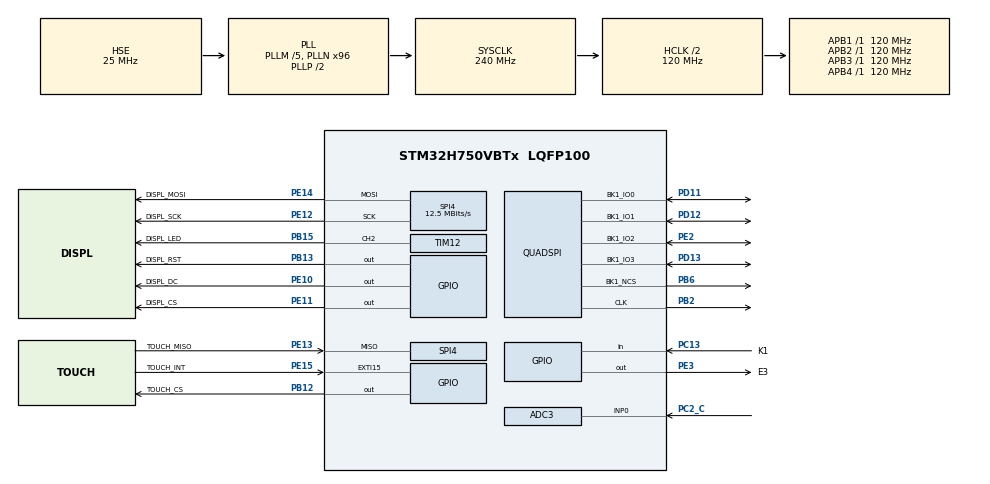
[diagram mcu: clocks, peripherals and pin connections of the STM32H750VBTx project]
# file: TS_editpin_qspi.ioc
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ADC3.Channel-0\#ChannelRegularConversion=ADC_CHANNEL_0
ADC3.Channel-1\#ChannelRegularConversion=ADC_CHANNEL_VREFINT
ADC3.Channel-2\#ChannelRegularConversion=ADC_CHANNEL_VBAT
ADC3.Channel-3\#ChannelRegularConversion=ADC_CHANNEL_TEMPSENSOR
ADC3.DiscontinuousConvMode=ENABLE
ADC3.NbrOfConversion=4
ADC3.NbrOfConversionFlag=1
ADC3.OffsetNumber-0\#ChannelRegularConversion=ADC_OFFSET_NONE
ADC3.OffsetNumber-1\#ChannelRegularConversion=ADC_OFFSET_NONE
ADC3.OffsetNumber-2\#ChannelRegularConversion=ADC_OFFSET_NONE
ADC3.OffsetNumber-3\#ChannelRegularConversion=ADC_OFFSET_NONE
ADC3.OffsetSignedSaturation-0\#ChannelRegularConversion=DISABLE
ADC3.OffsetSignedSaturation-1\#ChannelRegularConversion=DISABLE
ADC3.OffsetSignedSaturation-2\#ChannelRegularConversion=DISABLE
ADC3.OffsetSignedSaturation-3\#ChannelRegularConversion=DISABLE
ADC3.Rank-0\#ChannelRegularConversion=1
ADC3.Rank-1\#ChannelRegularConversion=2
ADC3.Rank-2\#ChannelRegularConversion=3
ADC3.Rank-3\#ChannelRegularConversion=4
ADC3.SamplingTime-0\#ChannelRegularConversion=ADC_SAMPLETIME_387CYCLES_5
ADC3.SamplingTime-1\#ChannelRegularConversion=ADC_SAMPLETIME_387CYCLES_5
ADC3.SamplingTime-2\#ChannelRegularConversion=ADC_SAMPLETIME_387CYCLES_5
ADC3.SamplingTime-3\#ChannelRegularConversion=ADC_SAMPLETIME_387CYCLES_5
CRC.OutputDataInversionMode=CRC_OUTPUTDATA_INVERSION_ENABLE
Dma.Request0=SPI4_TX
Dma.SPI4_TX.0.Direction=DMA_MEMORY_TO_PERIPH
Dma.SPI4_TX.0.EventEnable=DISABLE
Dma.SPI4_TX.0.FIFOMode=DMA_FIFOMODE_DISABLE
Dma.SPI4_TX.0.Instance=DMA1_Stream0
Dma.SPI4_TX.0.MemDataAlignment=DMA_MDATAALIGN_BYTE
Dma.SPI4_TX.0.MemInc=DMA_MINC_ENABLE
Dma.SPI4_TX.0.Mode=DMA_NORMAL
Dma.SPI4_TX.0.PeriphDataAlignment=DMA_PDATAALIGN_BYTE
Dma.SPI4_TX.0.PeriphInc=DMA_PINC_DISABLE
Dma.SPI4_TX.0.Polarity=HAL_DMAMUX_REQ_GEN_RISING
Dma.SPI4_TX.0.Priority=DMA_PRIORITY_LOW
Dma.SPI4_TX.0.RequestNumber=1
Dma.SPI4_TX.0.SignalID=NONE
Dma.SPI4_TX.0.SyncEnable=DISABLE
Dma.SPI4_TX.0.SyncPolarity=HAL_DMAMUX_SYNC_NO_EVENT
Dma.SPI4_TX.0.SyncRequestNumber=1
Dma.SPI4_TX.0.SyncSignalID=NONE
Mcu.Family=STM32H7
Mcu.Name=STM32H750VBTx
Mcu.Package=LQFP100
NVIC.DMA1_Stream0_IRQn=true\:0\:0\:false\:false\:true\:false\:true\:true
NVIC.EXTI15_10_IRQn=true\:0\:0\:false\:false\:true\:true\:true\:true
NVIC.PriorityGroup=NVIC_PRIORITYGROUP_4
NVIC.SPI4_IRQn=true\:0\:0\:false\:false\:true\:true\:true\:true
PA13\ (JTMS/SWDIO).Mode=Serial_Wire
PA13\ (JTMS/SWDIO).Signal=DEBUG_JTMS-SWDIO
PA14\ (JTCK/SWCLK).Mode=Serial_Wire
PA14\ (JTCK/SWCLK).Signal=DEBUG_JTCK-SWCLK
PB12.GPIO_Label=TOUCH_CS
PB12.GPIO_Speed=GPIO_SPEED_FREQ_HIGH
PB12.PinState=GPIO_PIN_RESET
PB12.Signal=GPIO_Output
PB13.GPIO_Label=DISPL_RST
PB13.PinState=GPIO_PIN_SET
PB13.Signal=GPIO_Output
PB15.GPIO_Label=DISPL_LED
PB15.Signal=S_TIM12_CH2
PB2.GPIO_Speed=GPIO_SPEED_FREQ_VERY_HIGH
PB2.Mode=Single Bank 1
PB2.Signal=QUADSPI_CLK
PB6.GPIO_Speed=GPIO_SPEED_FREQ_VERY_HIGH
PB6.Mode=Single Bank 1
PB6.Signal=QUADSPI_BK1_NCS
PC13.GPIO_Label=K1
PC13.GPIO_PuPd=GPIO_PULLDOWN
PC13.Signal=GPIO_Input
PC2_C.Mode=IN0-Single-Ended
PC2_C.Signal=ADC3_INP0
PD11.GPIO_Speed=GPIO_SPEED_FREQ_VERY_HIGH
PD11.Mode=Single Bank 1
PD11.Signal=QUADSPI_BK1_IO0
PD12.GPIO_Speed=GPIO_SPEED_FREQ_VERY_HIGH
PD12.Mode=Single Bank 1
PD12.Signal=QUADSPI_BK1_IO1
PD13.GPIO_Speed=GPIO_SPEED_FREQ_VERY_HIGH
PD13.Mode=Single Bank 1
PD13.Signal=QUADSPI_BK1_IO3
PE10.GPIO_Label=DISPL_DC
PE10.GPIO_Speed=GPIO_SPEED_FREQ_HIGH
PE10.PinState=GPIO_PIN_RESET
PE10.Signal=GPIO_Output
PE11.GPIO_Label=DISPL_CS
PE11.GPIO_Speed=GPIO_SPEED_FREQ_HIGH
PE11.PinState=GPIO_PIN_RESET
PE11.Signal=GPIO_Output
PE12.GPIO_Label=DISPL_SCK
PE12.GPIO_Speed=GPIO_SPEED_FREQ_VERY_HIGH
PE12.Mode=Full_Duplex_Master
PE12.Signal=SPI4_SCK
PE13.GPIO_Label=TOUCH_MISO
PE13.GPIO_Speed=GPIO_SPEED_FREQ_VERY_HIGH
PE13.Mode=Full_Duplex_Master
PE13.Signal=SPI4_MISO
PE14.GPIO_Label=DISPL_MOSI
PE14.GPIO_Speed=GPIO_SPEED_FREQ_VERY_HIGH
PE14.Mode=Full_Duplex_Master
PE14.Signal=SPI4_MOSI
PE15.GPIO_Label=TOUCH_INT
PE15.GPIO_ModeDefaultEXTI=GPIO_MODE_IT_FALLING
PE15.GPIO_PuPd=GPIO_PULLUP
PE15.Signal=GPXTI15
PE2.GPIO_Speed=GPIO_SPEED_FREQ_VERY_HIGH
PE2.Mode=Single Bank 1
PE2.Signal=QUADSPI_BK1_IO2
PE3.GPIO_Label=E3
PE3.Signal=GPIO_Output
PH0-OSC_IN\ (PH0).Mode=HSE-External-Oscillator
PH0-OSC_IN\ (PH0).Signal=RCC_OSC_IN
PH1-OSC_OUT\ (PH1).Mode=HSE-External-Oscillator
PH1-OSC_OUT\ (PH1).Signal=RCC_OSC_OUT
ProjectManager.HeapSize=0x200
ProjectManager.StackSize=0x400
ProjectManager.TargetToolchain=STM32CubeIDE
QUADSPI.ChipSelectHighTime=QSPI_CS_HIGH_TIME_8_CYCLE
QUADSPI.ClockMode=QSPI_CLOCK_MODE_3
QUADSPI.ClockPrescaler=2-1
QUADSPI.FifoThreshold=32
QUADSPI.FlashSize=23-1
QUADSPI.SampleShifting=QSPI_SAMPLE_SHIFTING_HALFCYCLE
RCC.ADCCLockSelection=RCC_ADCCLKSOURCE_PLL3
RCC.ADCFreq_Value=25000000
RCC.APB1Freq_Value=120000000
RCC.APB2Freq_Value=120000000
RCC.APB3Freq_Value=120000000
RCC.APB4Freq_Value=120000000
RCC.CortexFreq_Value=240000000
RCC.DIVM1=5
RCC.DIVM3=10
RCC.DIVN1=96
RCC.DIVN3=60
RCC.DIVR3=6
RCC.HCLKFreq_Value=120000000
RCC.HPRE=RCC_HCLK_DIV2
RCC.PLLSourceVirtual=RCC_PLLSOURCE_HSE
RCC.SYSCLKFreq_VALUE=240000000
RCC.SYSCLKSource=RCC_SYSCLKSOURCE_PLLCLK
RCC.Spi45ClockSelection=RCC_SPI45CLKSOURCE_HSE
RCC.USBFreq_Value=240000000
SH.S_TIM12_CH2.0=TIM12_CH2,PWM Generation2 CH2
SPI4.BaudRatePrescaler=SPI_BAUDRATEPRESCALER_2
SPI4.CalculateBaudRate=12.5 MBits/s
SPI4.DataSize=SPI_DATASIZE_8BIT
SPI4.Direction=SPI_DIRECTION_2LINES
SPI4.Mode=SPI_MODE_MASTER
SPI4.VirtualType=VM_MASTER
STMicroelectronics.X-CUBE-TOUCHGFX.4.22.0.ApplicationCcGraphicsJjApplication=TouchGFXOoGenerator
STMicroelectronics.X-CUBE-TOUCHGFX.4.22.0.tgfx_buffering_strategy=Partial
STMicroelectronics.X-CUBE-TOUCHGFX.4.22.0.tgfx_custom_height=480
STMicroelectronics.X-CUBE-TOUCHGFX.4.22.0.tgfx_custom_width=320
STMicroelectronics.X-CUBE-TOUCHGFX.4.22.0.tgfx_partialfb_transmit_strategy=Enabled
STMicroelectronics.X-CUBE-TOUCHGFX.4.22.0_IsPackSelfContextualization=true
TIM12.Channel-PWM\ Generation2\ CH2=TIM_CHANNEL_2
TIM12.Period=100
TIM12.Prescaler=12000
VP_ADC3_TempSens_Input.Mode=IN-TempSens
VP_ADC3_Vbat_Input.Mode=IN-Vbat
VP_ADC3_Vref_Input.Mode=IN-Vrefint
VP_CRC_VS_CRC.Mode=CRC_Activate
VP_RTC_VS_RTC_Activate.Mode=RTC_Enabled
VP_RTC_VS_RTC_Calendar.Mode=RTC_Calendar
VP_STMicroelectronics.X-CUBE-TOUCHGFX_VS_GraphicsJjApplication_4.22.0.Mode=GraphicsJjApplication
board=custom

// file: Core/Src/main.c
/* USER CODE BEGIN Header */
/**
  ******************************************************************************
  * @file           : main.c
  * @brief          : Main program body
  ******************************************************************************
  * @attention
  *
  * Copyright (c) 2023 STMicroelectronics.
  * All rights reserved.
  *
  * This software is licensed under terms that can be found in the LICENSE file
  * in the root directory of this software component.
  * If no LICENSE file comes with this software, it is provided AS-IS.
  *
  ******************************************************************************
  */
/* USER CODE END Header */
#include "main.h"
#include "adc.h"
#include "crc.h"
#include "dma.h"
#include "quadspi.h"
#include "rtc.h"
#include "spi.h"
#include "tim.h"
#include "gpio.h"
#include "app_touchgfx.h"

/* USER CODE BEGIN Includes */
#include "w25qxx_qspi.h"

/* USER CODE END Includes */

void SystemClock_Config(void);

/* USER CODE BEGIN 0 */

void MPU_Config(void)
{
  MPU_Region_InitTypeDef MPU_InitStruct = {0};

  /* Disables the MPU */
  HAL_MPU_Disable();

  /** Initializes and configures the Region and the memory to be protected
  */
  MPU_InitStruct.Enable = MPU_REGION_ENABLE;
  MPU_InitStruct.Number = MPU_REGION_NUMBER0;
  MPU_InitStruct.BaseAddress = 0x24000000;
  MPU_InitStruct.Size = MPU_REGION_SIZE_128KB;
  MPU_InitStruct.SubRegionDisable = 0x0;
  MPU_InitStruct.TypeExtField = MPU_TEX_LEVEL0;
  MPU_InitStruct.AccessPermission = MPU_REGION_FULL_ACCESS;
  MPU_InitStruct.DisableExec = MPU_INSTRUCTION_ACCESS_DISABLE;
  MPU_InitStruct.IsShareable = MPU_ACCESS_NOT_SHAREABLE;
  MPU_InitStruct.IsCacheable = MPU_ACCESS_CACHEABLE;
  MPU_InitStruct.IsBufferable = MPU_ACCESS_BUFFERABLE;

  HAL_MPU_ConfigRegion(&MPU_InitStruct);

  /** Initializes and configures the Region and the memory to be protected
  */
  MPU_InitStruct.Number = MPU_REGION_NUMBER1;
  MPU_InitStruct.BaseAddress = 0x90000000;
  MPU_InitStruct.Size = MPU_REGION_SIZE_8MB;
  MPU_InitStruct.AccessPermission = MPU_REGION_FULL_ACCESS;
  MPU_InitStruct.IsCacheable = MPU_ACCESS_CACHEABLE;
  MPU_InitStruct.IsBufferable = MPU_ACCESS_BUFFERABLE;

  HAL_MPU_ConfigRegion(&MPU_InitStruct);

  /** Initializes and configures the Region and the memory to be protected
  */
  MPU_InitStruct.Number = MPU_REGION_NUMBER2;
  MPU_InitStruct.BaseAddress = 0x90020000;
  MPU_InitStruct.Size = MPU_REGION_SIZE_8MB;
  MPU_InitStruct.AccessPermission = MPU_REGION_FULL_ACCESS;
  MPU_InitStruct.DisableExec = MPU_INSTRUCTION_ACCESS_ENABLE;
  MPU_InitStruct.IsCacheable = MPU_ACCESS_CACHEABLE;
  MPU_InitStruct.IsBufferable = MPU_ACCESS_BUFFERABLE;

  HAL_MPU_ConfigRegion(&MPU_InitStruct);

  HAL_MPU_ConfigRegion(&MPU_InitStruct);
  /* Enables the MPU */
  HAL_MPU_Enable(MPU_PRIVILEGED_DEFAULT);

}
/* USER CODE END 0 */

int main(void)
{
  /* USER CODE BEGIN 1 */
	 SCB_EnableICache();

		  /* Enable D-Cache */
		  SCB_EnableDCache();

		  MPU_Config();
  /* USER CODE END 1 */

  /* MCU Configuration--------------------------------------------------------*/

  /* Reset of all peripherals, Initializes the Flash interface and the Systick. */
  HAL_Init();

  /* Configure the system clock */
  SystemClock_Config();

  /* Initialize all configured peripherals */
  MX_GPIO_Init();
  MX_DMA_Init();
  MX_SPI4_Init();
  MX_CRC_Init();
  MX_ADC3_Init();
  MX_QUADSPI_Init();
  MX_RTC_Init();
  MX_TIM12_Init();
  MX_TouchGFX_Init();
  /* USER CODE BEGIN 2 */
  w25qxx_Init();
    w25qxx_EnterQPI();
    w25qxx_Startup(w25qxx_DTRMode);

    Displ_Init(Displ_Orientat_0);			// (mandatory) initialize display controller - set orientation parameter as per TouchGFX setup
    touchgfxSignalVSync();					// ask display syncronization
    Displ_BackLight('I');  					// (mandatory) initialize backlight
  /* USER CODE END 2 */

  /* Infinite loop */
  while (1)
  {

  MX_TouchGFX_Process();
    /* USER CODE BEGIN 3 */
  touchgfxSignalVSync();
  }
  /* USER CODE END 3 */
}

void SystemClock_Config(void)
{
  RCC_OscInitTypeDef RCC_OscInitStruct = {0};
  RCC_ClkInitTypeDef RCC_ClkInitStruct = {0};

  /** Supply configuration update enable
  */
  HAL_PWREx_ConfigSupply(PWR_LDO_SUPPLY);

  /** Configure the main internal regulator output voltage
  */
  __HAL_PWR_VOLTAGESCALING_CONFIG(PWR_REGULATOR_VOLTAGE_SCALE2);

  while(!__HAL_PWR_GET_FLAG(PWR_FLAG_VOSRDY)) {}

  /** Initializes the RCC Oscillators according to the specified parameters
  * in the RCC_OscInitTypeDef structure.
  */
  RCC_OscInitStruct.OscillatorType = RCC_OSCILLATORTYPE_LSI|RCC_OSCILLATORTYPE_HSE;
  RCC_OscInitStruct.HSEState = RCC_HSE_ON;
  RCC_OscInitStruct.LSIState = RCC_LSI_ON;
  RCC_OscInitStruct.PLL.PLLState = RCC_PLL_ON;
  RCC_OscInitStruct.PLL.PLLSource = RCC_PLLSOURCE_HSE;
  RCC_OscInitStruct.PLL.PLLM = 5;
  RCC_OscInitStruct.PLL.PLLN = 96;
  RCC_OscInitStruct.PLL.PLLP = 2;
  RCC_OscInitStruct.PLL.PLLQ = 2;
  RCC_OscInitStruct.PLL.PLLR = 2;
  RCC_OscInitStruct.PLL.PLLRGE = RCC_PLL1VCIRANGE_2;
  RCC_OscInitStruct.PLL.PLLVCOSEL = RCC_PLL1VCOWIDE;
  RCC_OscInitStruct.PLL.PLLFRACN = 0;
  if (HAL_RCC_OscConfig(&RCC_OscInitStruct) != HAL_OK)
  {
    Error_Handler();
  }

  /** Initializes the CPU, AHB and APB buses clocks
  */
  RCC_ClkInitStruct.ClockType = RCC_CLOCKTYPE_HCLK|RCC_CLOCKTYPE_SYSCLK
                              |RCC_CLOCKTYPE_PCLK1|RCC_CLOCKTYPE_PCLK2
                              |RCC_CLOCKTYPE_D3PCLK1|RCC_CLOCKTYPE_D1PCLK1;
  RCC_ClkInitStruct.SYSCLKSource = RCC_SYSCLKSOURCE_PLLCLK;
  RCC_ClkInitStruct.SYSCLKDivider = RCC_SYSCLK_DIV1;
  RCC_ClkInitStruct.AHBCLKDivider = RCC_HCLK_DIV2;
  RCC_ClkInitStruct.APB3CLKDivider = RCC_APB3_DIV1;
  RCC_ClkInitStruct.APB1CLKDivider = RCC_APB1_DIV1;
  RCC_ClkInitStruct.APB2CLKDivider = RCC_APB2_DIV1;
  RCC_ClkInitStruct.APB4CLKDivider = RCC_APB4_DIV1;

  if (HAL_RCC_ClockConfig(&RCC_ClkInitStruct, FLASH_LATENCY_2) != HAL_OK)
  {
    Error_Handler();
  }
}

void Error_Handler(void)
{
  __disable_irq();
  while (1)
  {
  }
}
